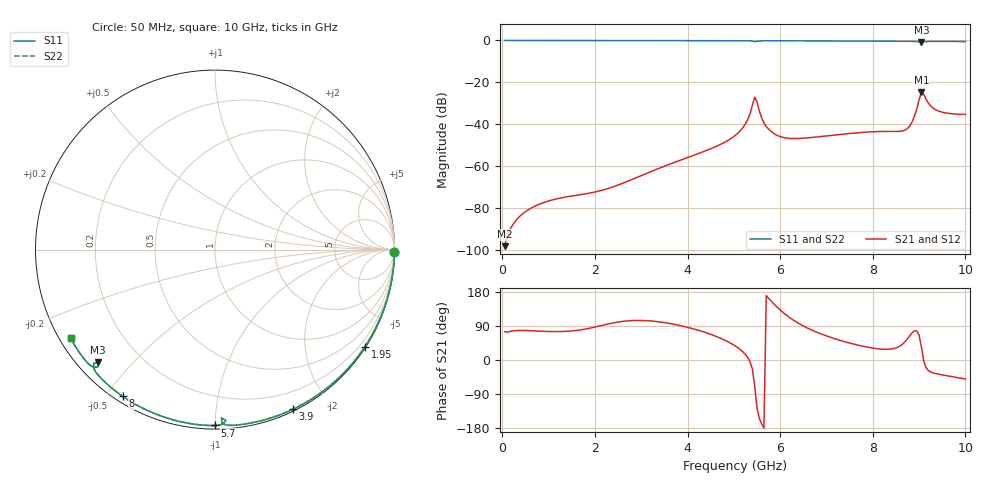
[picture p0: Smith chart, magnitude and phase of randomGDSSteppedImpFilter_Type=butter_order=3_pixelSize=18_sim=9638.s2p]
! freq	dB(S11)	phase(S11)	dB(S12)	phase(S12)
!  dB(S21)	phase(S21)	dB(S22)	phase(S22)
!S-par simulation data
#  GHz  S  DB  R 50
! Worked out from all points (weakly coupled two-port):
!   200 points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, 50 MHz to 10 GHz, reference 50 ohm
!   highest |S21| = -24.84 dB at 9.05 GHz (marker M1); lowest = -98.3 dB at 50 MHz (marker M2)
!   lowest |S11| = -0.9 dB at 9.05 GHz (marker M3), VSWR 19.79, Z = 2.94 - j20.1 ohm
!   |S11| at or under -10 dB: nowhere
!   |S22| runs from -0.9 to 0.0 dB; largest |S21 - S12| = 0
!   S11 on the Smith chart (normalised r, x): 50 MHz: open; 1.95 GHz: 0.03, -3.39; 3.9 GHz: 0.02, -1.60; 5.7 GHz: 0.02, -1.00; 8 GHz: 0.02, -0.55; 10 GHz: 0.03, -0.28
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0.05  -0.00 -0.9  -98.34 74.7  -98.34 74.7  -0.00 -0.9
0.65  -0.01 -11.1  -79.81 77.1  -79.81 77.1  -0.01 -11.1
1.75  -0.04 -29.6  -73.49 80.7  -73.49 80.7  -0.04 -29.6
1.95  -0.04 -32.9  -72.69 85.5  -72.69 85.5  -0.04 -32.9
3.4  -0.07 -56.2  -60.98 100.4  -60.98 100.4  -0.07 -56.2
3.9  -0.09 -64.0  -56.78 89.2  -56.78 89.2  -0.09 -64.0
4.65  -0.11 -75.4  -50.33 60.7  -50.33 60.7  -0.11 -75.4
5.05  -0.13 -81.4  -45.03 35.4  -45.03 35.4  -0.13 -81.4
5.3  -0.16 -85.5  -37.73 6.7  -37.73 6.7  -0.16 -85.5
5.45  -0.55 -87.8  -27.12 -68.3  -27.12 -68.3  -0.55 -87.8
5.6  -0.20 -88.3  -36.98 -168.4  -36.98 -168.4  -0.20 -88.3
5.7  -0.18 -90.0  -41.19 170.0  -41.19 170.0  -0.18 -90.0
6.05  -0.18 -95.2  -46.28 126.7  -46.28 126.7  -0.18 -95.2
6.7  -0.21 -104.4  -46.34 78.1  -46.34 78.1  -0.21 -104.4
8  -0.30 -122.2  -43.64 31.4  -43.64 31.4  -0.30 -122.2
8.35  -0.33 -126.9  -43.47 28.5  -43.47 28.5  -0.33 -126.9
8.65  -0.37 -131.1  -43.21 42.6  -43.21 42.6  -0.37 -131.1
8.8  -0.40 -133.4  -40.84 64.2  -40.84 64.2  -0.40 -133.4
8.9  -0.46 -135.0  -36.23 76.9  -36.23 76.9  -0.46 -135.1
9.05  -0.88 -136.0  -24.84 34.2  -24.84 34.2  -0.88 -136.0
9.35  -0.44 -139.4  -32.99 -35.7  -32.99 -35.7  -0.44 -139.4
10  -0.51 -148.6  -35.37 -50.2  -35.37 -50.2  -0.51 -148.6
